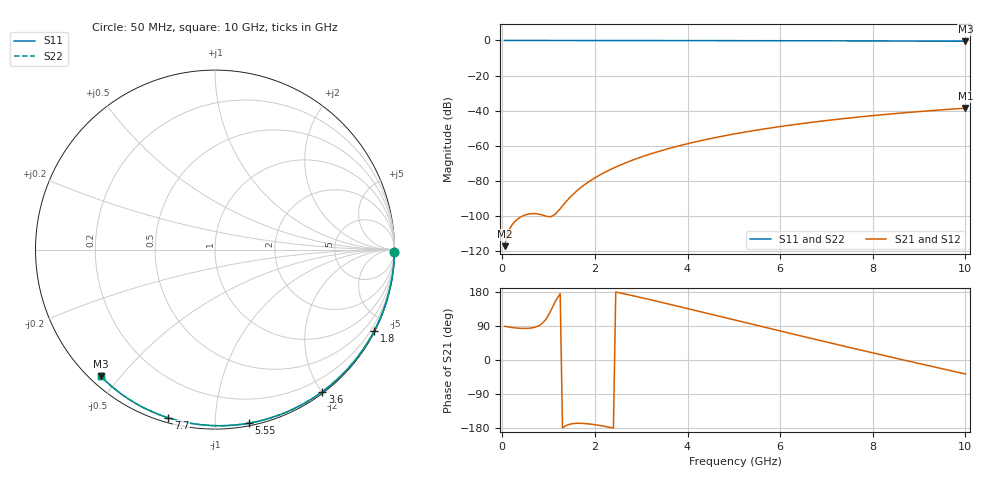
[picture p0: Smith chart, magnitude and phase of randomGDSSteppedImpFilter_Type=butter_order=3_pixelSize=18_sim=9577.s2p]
! freq	dB(S11)	phase(S11)	dB(S12)	phase(S12)
!  dB(S21)	phase(S21)	dB(S22)	phase(S22)
!S-par simulation data
#  GHz  S  DB  R 50
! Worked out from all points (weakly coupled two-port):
!   200 points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, 50 MHz to 10 GHz, reference 50 ohm
!   highest |S21| = -38.54 dB at 10 GHz (marker M1); lowest = -117.0 dB at 50 MHz (marker M2)
!   lowest |S11| = -0.4 dB at 10 GHz (marker M3), VSWR 39.01, Z = 1.53 - j22.2 ohm
!   |S11| at or under -10 dB: nowhere
!   |S22| runs from -0.4 to 0.0 dB; largest |S21 - S12| = 0
!   S11 on the Smith chart (normalised r, x): 50 MHz: open; 1.8 GHz: 0.04, -4.16; 3.6 GHz: 0.02, -2.01; 5.55 GHz: 0.02, -1.21; 7.7 GHz: 0.02, -0.76; 10 GHz: 0.03, -0.44
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0.05  -0.00 -0.8  -117.02 88.9  -117.02 88.9  -0.00 -0.8
0.45  -0.01 -6.9  -99.71 83.4  -99.71 83.4  -0.01 -6.9
0.9  -0.02 -13.6  -99.62 101.5  -99.62 101.5  -0.02 -13.6
1.75  -0.03 -26.3  -82.56 -167.3  -82.56 -167.3  -0.03 -26.3
1.8  -0.03 -27.0  -81.60 -167.8  -81.60 -167.8  -0.03 -27.0
1.9  -0.04 -28.5  -79.80 -169.1  -79.80 -169.1  -0.04 -28.5
2.05  -0.04 -30.7  -77.37 -171.6  -77.37 -171.6  -0.04 -30.7
2.25  -0.04 -33.6  -74.51 -175.9  -74.51 -175.9  -0.04 -33.6
2.45  -0.05 -36.5  -71.99 179.3  -71.99 179.3  -0.05 -36.5
2.65  -0.05 -39.4  -69.74 174.2  -69.74 174.2  -0.05 -39.4
3  -0.06 -44.4  -66.30 164.6  -66.30 164.6  -0.06 -44.4
3.4  -0.07 -50.1  -62.94 153.3  -62.94 153.3  -0.07 -50.1
3.6  -0.07 -52.9  -61.44 147.5  -61.44 147.5  -0.07 -52.9
4.3  -0.09 -62.5  -56.91 126.9  -56.91 126.9  -0.09 -62.5
5.05  -0.11 -72.5  -52.99 104.7  -52.99 104.7  -0.11 -72.5
5.55  -0.13 -79.0  -50.76 89.9  -50.76 89.9  -0.13 -79.0
6.1  -0.15 -86.0  -48.59 73.7  -48.59 73.7  -0.15 -86.0
6.7  -0.18 -93.4  -46.50 56.1  -46.50 56.1  -0.18 -93.4
7.7  -0.24 -105.5  -43.54 27.3  -43.54 27.3  -0.24 -105.5
8.35  -0.29 -113.1  -41.90 8.9  -41.90 8.9  -0.29 -113.1
9.15  -0.36 -122.4  -40.14 -13.5  -40.14 -13.5  -0.36 -122.4
10  -0.45 -132.1  -38.54 -36.8  -38.54 -36.8  -0.45 -132.1
